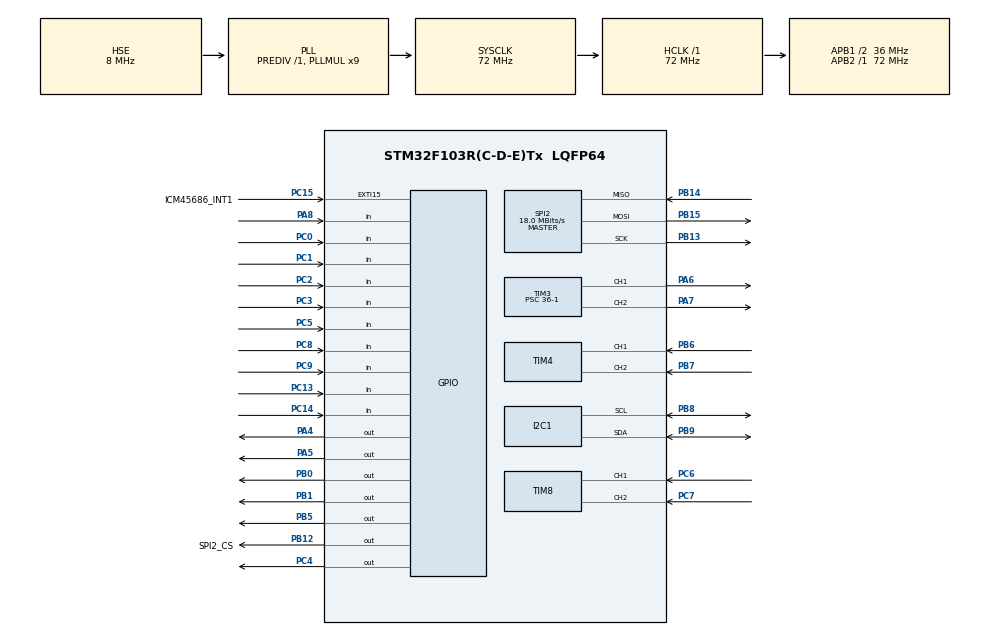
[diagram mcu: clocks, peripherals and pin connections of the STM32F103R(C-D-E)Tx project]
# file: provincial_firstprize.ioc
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Dma.I2C1_TX.0.Direction=DMA_MEMORY_TO_PERIPH
Dma.I2C1_TX.0.Instance=DMA1_Channel6
Dma.I2C1_TX.0.MemDataAlignment=DMA_MDATAALIGN_BYTE
Dma.I2C1_TX.0.MemInc=DMA_MINC_ENABLE
Dma.I2C1_TX.0.Mode=DMA_NORMAL
Dma.I2C1_TX.0.PeriphDataAlignment=DMA_PDATAALIGN_BYTE
Dma.I2C1_TX.0.PeriphInc=DMA_PINC_DISABLE
Dma.I2C1_TX.0.Priority=DMA_PRIORITY_HIGH
Dma.Request0=I2C1_TX
Dma.Request1=SPI2_RX
Dma.Request2=SPI2_TX
Dma.SPI2_RX.1.Direction=DMA_PERIPH_TO_MEMORY
Dma.SPI2_RX.1.Instance=DMA1_Channel4
Dma.SPI2_RX.1.MemDataAlignment=DMA_MDATAALIGN_BYTE
Dma.SPI2_RX.1.MemInc=DMA_MINC_ENABLE
Dma.SPI2_RX.1.Mode=DMA_NORMAL
Dma.SPI2_RX.1.PeriphDataAlignment=DMA_PDATAALIGN_BYTE
Dma.SPI2_RX.1.PeriphInc=DMA_PINC_DISABLE
Dma.SPI2_RX.1.Priority=DMA_PRIORITY_VERY_HIGH
Dma.SPI2_TX.2.Direction=DMA_MEMORY_TO_PERIPH
Dma.SPI2_TX.2.Instance=DMA1_Channel5
Dma.SPI2_TX.2.MemDataAlignment=DMA_MDATAALIGN_BYTE
Dma.SPI2_TX.2.MemInc=DMA_MINC_ENABLE
Dma.SPI2_TX.2.Mode=DMA_NORMAL
Dma.SPI2_TX.2.PeriphDataAlignment=DMA_PDATAALIGN_BYTE
Dma.SPI2_TX.2.PeriphInc=DMA_PINC_DISABLE
Dma.SPI2_TX.2.Priority=DMA_PRIORITY_HIGH
FREERTOS.Tasks01=defaultTask,24,128,StartDefaultTask,Default,NULL,Dynamic,NULL,NULL;linefollowTask,24,128,StartlinefollowTask,As weak,NULL,Dynamic,NULL,NULL;chassisTask,32,256,StartchassisTask,As weak,NULL,Dynamic,NULL,NULL;controlTask,24,256,StartcontrolTask,As weak,NULL,Dynamic,NULL,NULL;imuTask,40,256,StartimuTask,As weak,NULL,Dynamic,NULL,NULL
FREERTOS.configTOTAL_HEAP_SIZE=8192
Mcu.Family=STM32F1
Mcu.Name=STM32F103R(C-D-E)Tx
Mcu.Package=LQFP64
NVIC.DMA1_Channel4_IRQn=true\:5\:0\:false\:false\:true\:true\:false\:true\:true
NVIC.DMA1_Channel5_IRQn=true\:6\:0\:true\:false\:true\:true\:false\:true\:true
NVIC.DMA1_Channel6_IRQn=true\:7\:0\:true\:false\:true\:true\:false\:true\:true
NVIC.EXTI15_10_IRQn=true\:5\:0\:false\:false\:true\:true\:true\:true\:true
NVIC.I2C1_ER_IRQn=true\:5\:0\:false\:false\:true\:true\:true\:true\:true
NVIC.I2C1_EV_IRQn=true\:5\:0\:false\:false\:true\:true\:true\:true\:true
NVIC.PriorityGroup=NVIC_PRIORITYGROUP_4
NVIC.SPI2_IRQn=true\:8\:0\:true\:false\:true\:true\:true\:true\:true
NVIC.TIM6_IRQn=true\:15\:0\:false\:false\:true\:false\:false\:true\:true
NVIC.TimeBase=TIM6_IRQn
NVIC.TimeBaseIP=TIM6
PA10.Signal=USART1_RX
PA13.Mode=Serial_Wire
PA13.Signal=SYS_JTMS-SWDIO
PA14.Mode=Serial_Wire
PA14.Signal=SYS_JTCK-SWCLK
PA2.Signal=USART2_TX
PA3.Signal=USART2_RX
PA4.Signal=GPIO_Output
PA5.Signal=GPIO_Output
PA6.Signal=S_TIM3_CH1
PA7.Signal=S_TIM3_CH2
PA8.GPIO_PuPd=GPIO_PULLUP
PA8.Signal=GPIO_Input
PA9.Signal=USART1_TX
PB0.Signal=GPIO_Output
PB1.Signal=GPIO_Output
PB10.Signal=USART3_TX
PB11.Signal=USART3_RX
PB12.GPIO_Label=SPI2_CS
PB12.GPIO_Speed=GPIO_SPEED_FREQ_HIGH
PB12.PinState=GPIO_PIN_SET
PB12.Signal=GPIO_Output
PB13.Mode=Full_Duplex_Master
PB13.Signal=SPI2_SCK
PB14.Mode=Full_Duplex_Master
PB14.Signal=SPI2_MISO
PB15.Mode=Full_Duplex_Master
PB15.Signal=SPI2_MOSI
PB5.Signal=GPIO_Output
PB6.Signal=S_TIM4_CH1
PB7.Signal=S_TIM4_CH2
PB8.Mode=I2C
PB8.Signal=I2C1_SCL
PB9.Mode=I2C
PB9.Signal=I2C1_SDA
PC0.GPIO_PuPd=GPIO_PULLUP
PC0.Signal=GPIO_Input
PC1.GPIO_PuPd=GPIO_PULLUP
PC1.Signal=GPIO_Input
PC13-TAMPER-RTC.GPIO_PuPd=GPIO_PULLUP
PC13-TAMPER-RTC.Signal=GPIO_Input
PC14-OSC32_IN.GPIO_PuPd=GPIO_PULLUP
PC14-OSC32_IN.Signal=GPIO_Input
PC15-OSC32_OUT.GPIO_Label=ICM45686_INT1
PC15-OSC32_OUT.Signal=GPXTI15
PC2.GPIO_PuPd=GPIO_PULLUP
PC2.Signal=GPIO_Input
PC3.GPIO_PuPd=GPIO_PULLUP
PC3.Signal=GPIO_Input
PC4.Signal=GPIO_Output
PC5.GPIO_PuPd=GPIO_PULLUP
PC5.Signal=GPIO_Input
PC6.Signal=S_TIM8_CH1
PC7.Signal=S_TIM8_CH2
PC8.GPIO_PuPd=GPIO_PULLUP
PC8.Signal=GPIO_Input
PC9.GPIO_PuPd=GPIO_PULLUP
PC9.Signal=GPIO_Input
PD0-OSC_IN.Mode=HSE-External-Oscillator
PD0-OSC_IN.Signal=RCC_OSC_IN
PD1-OSC_OUT.Mode=HSE-External-Oscillator
PD1-OSC_OUT.Signal=RCC_OSC_OUT
ProjectManager.HeapSize=0x200
ProjectManager.StackSize=0x400
ProjectManager.TargetToolchain=CMake
RCC.AHBFreq_Value=72000000
RCC.APB1CLKDivider=RCC_HCLK_DIV2
RCC.APB1Freq_Value=36000000
RCC.APB1TimFreq_Value=72000000
RCC.APB2Freq_Value=72000000
RCC.APB2TimFreq_Value=72000000
RCC.HCLKFreq_Value=72000000
RCC.PLLMUL=RCC_PLL_MUL9
RCC.PLLSourceVirtual=RCC_PLLSOURCE_HSE
RCC.SYSCLKFreq_VALUE=72000000
RCC.SYSCLKSource=RCC_SYSCLKSOURCE_PLLCLK
RCC.USBFreq_Value=72000000
SH.S_TIM3_CH1.0=TIM3_CH1,PWM Generation1 CH1
SH.S_TIM3_CH2.0=TIM3_CH2,PWM Generation2 CH2
SH.S_TIM4_CH1.0=TIM4_CH1,Encoder_Interface
SH.S_TIM4_CH2.0=TIM4_CH2,Encoder_Interface
SH.S_TIM8_CH1.0=TIM8_CH1,Encoder_Interface
SH.S_TIM8_CH2.0=TIM8_CH2,Encoder_Interface
SPI2.CalculateBaudRate=18.0 MBits/s
SPI2.Direction=SPI_DIRECTION_2LINES
SPI2.Mode=SPI_MODE_MASTER
SPI2.VirtualType=VM_MASTER
TIM3.Channel-PWM\ Generation1\ CH1=TIM_CHANNEL_1
TIM3.Channel-PWM\ Generation2\ CH2=TIM_CHANNEL_2
TIM3.Period=100-1
TIM3.Prescaler=36-1
TIM4.AutoReloadPreload=TIM_AUTORELOAD_PRELOAD_ENABLE
TIM4.EncoderMode=TIM_ENCODERMODE_TI12
TIM4.IC1Filter=6
TIM4.IC2Filter=6
TIM8.AutoReloadPreload=TIM_AUTORELOAD_PRELOAD_ENABLE
TIM8.EncoderMode=TIM_ENCODERMODE_TI12
TIM8.IC1Filter=6
TIM8.IC2Filter=6
VP_FREERTOS_VS_CMSIS_V2.Mode=CMSIS_V2
VP_SYS_VS_tim6.Mode=TIM6
VP_TIM3_VS_ClockSourceINT.Mode=Internal
board=custom

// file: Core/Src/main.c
/* USER CODE BEGIN Header */
/**
  ******************************************************************************
  * @file           : main.c
  * @brief          : Main program body
  ******************************************************************************
  * @attention
  *
  * Copyright (c) 2026 STMicroelectronics.
  * All rights reserved.
  *
  * This software is licensed under terms that can be found in the LICENSE file
  * in the root directory of this software component.
  * If no LICENSE file comes with this software, it is provided AS-IS.
  *
  ******************************************************************************
  */
/* USER CODE END Header */
#include "main.h"
#include "cmsis_os.h"
#include "dma.h"
#include "i2c.h"
#include "spi.h"
#include "tim.h"
#include "gpio.h"

/* USER CODE BEGIN Includes */
#include "app_chassis.h"
#include "app_line_follow.h"
#include "app_race_config.h"

/* USER CODE END Includes */

void SystemClock_Config(void);
void MX_FREERTOS_Init(void);

int main(void)
{

  /* MCU Configuration--------------------------------------------------------*/

  /* Reset of all peripherals, Initializes the Flash interface and the Systick. */
  HAL_Init();

  /* Configure the system clock */
  SystemClock_Config();

  /* Initialize all configured peripherals */
  MX_GPIO_Init();
  MX_DMA_Init();
  MX_TIM3_Init();
  MX_TIM4_Init();
  MX_TIM8_Init();
  MX_I2C1_Init();
  MX_SPI2_Init();
  /* USER CODE BEGIN 2 */
  AppChassis_Init();
  AppLineFollow_Init();
  AppRaceConfig_Init(HAL_GetTick());

  /* USER CODE END 2 */

  /* Init scheduler */
  osKernelInitialize();  /* Call init function for freertos objects (in cmsis_os2.c) */
  MX_FREERTOS_Init();

  /* Start scheduler */
  osKernelStart();

  /* We should never get here as control is now taken by the scheduler */

  /* Infinite loop */
  while (1)
  {

    /* USER CODE BEGIN 3 */
    AppChassis_Stop();
  }
  /* USER CODE END 3 */
}

void SystemClock_Config(void)
{
  RCC_OscInitTypeDef RCC_OscInitStruct = {0};
  RCC_ClkInitTypeDef RCC_ClkInitStruct = {0};

  /** Initializes the RCC Oscillators according to the specified parameters
  * in the RCC_OscInitTypeDef structure.
  */
  RCC_OscInitStruct.OscillatorType = RCC_OSCILLATORTYPE_HSE;
  RCC_OscInitStruct.HSEState = RCC_HSE_ON;
  RCC_OscInitStruct.HSEPredivValue = RCC_HSE_PREDIV_DIV1;
  RCC_OscInitStruct.HSIState = RCC_HSI_ON;
  RCC_OscInitStruct.PLL.PLLState = RCC_PLL_ON;
  RCC_OscInitStruct.PLL.PLLSource = RCC_PLLSOURCE_HSE;
  RCC_OscInitStruct.PLL.PLLMUL = RCC_PLL_MUL9;
  if (HAL_RCC_OscConfig(&RCC_OscInitStruct) != HAL_OK)
  {
    Error_Handler();
  }

  /** Initializes the CPU, AHB and APB buses clocks
  */
  RCC_ClkInitStruct.ClockType = RCC_CLOCKTYPE_HCLK|RCC_CLOCKTYPE_SYSCLK
                              |RCC_CLOCKTYPE_PCLK1|RCC_CLOCKTYPE_PCLK2;
  RCC_ClkInitStruct.SYSCLKSource = RCC_SYSCLKSOURCE_PLLCLK;
  RCC_ClkInitStruct.AHBCLKDivider = RCC_SYSCLK_DIV1;
  RCC_ClkInitStruct.APB1CLKDivider = RCC_HCLK_DIV2;
  RCC_ClkInitStruct.APB2CLKDivider = RCC_HCLK_DIV1;

  if (HAL_RCC_ClockConfig(&RCC_ClkInitStruct, FLASH_LATENCY_2) != HAL_OK)
  {
    Error_Handler();
  }
}

void HAL_TIM_PeriodElapsedCallback(TIM_HandleTypeDef *htim)
{
  if (htim->Instance == TIM6)
  {
    HAL_IncTick();
    AppRaceConfig_KeyTimer1ms(HAL_GetTick());
  }
}

void Error_Handler(void)
{
  __disable_irq();
  while (1)
  {
  }
}

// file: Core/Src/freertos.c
/* USER CODE BEGIN Header */
/**
  ******************************************************************************
  * File Name          : freertos.c
  * Description        : Code for freertos applications
  ******************************************************************************
  * @attention
  *
  * Copyright (c) 2026 STMicroelectronics.
  * All rights reserved.
  *
  * This software is licensed under terms that can be found in the LICENSE file
  * in the root directory of this software component.
  * If no LICENSE file comes with this software, it is provided AS-IS.
  *
  ******************************************************************************
  */
/* USER CODE END Header */

#include "FreeRTOS.h"
#include "task.h"
#include "main.h"
#include "cmsis_os.h"

/* USER CODE BEGIN Includes */
#include "chassis_task.h"
#include "control_task.h"
#include "app_race_config.h"
#include "line_follow_task.h"

/* USER CODE END Includes */

/* Definitions for defaultTask */
osThreadId_t defaultTaskHandle;
const osThreadAttr_t defaultTask_attributes = {
  .name = "defaultTask",
  .stack_size = 128 * 4,
  .priority = (osPriority_t) osPriorityNormal,
};
/* Definitions for linefollowTask */
osThreadId_t linefollowTaskHandle;
const osThreadAttr_t linefollowTask_attributes = {
  .name = "linefollowTask",
  .stack_size = 128 * 4,
  .priority = (osPriority_t) osPriorityNormal,
};
/* Definitions for chassisTask */
osThreadId_t chassisTaskHandle;
const osThreadAttr_t chassisTask_attributes = {
  .name = "chassisTask",
  .stack_size = 256 * 4,
  .priority = (osPriority_t) osPriorityAboveNormal,
};
/* Definitions for controlTask */
osThreadId_t controlTaskHandle;
const osThreadAttr_t controlTask_attributes = {
  .name = "controlTask",
  .stack_size = 256 * 4,
  .priority = (osPriority_t) osPriorityNormal,
};
/* Definitions for imuTask */
osThreadId_t imuTaskHandle;
const osThreadAttr_t imuTask_attributes = {
  .name = "imuTask",
  .stack_size = 256 * 4,
  .priority = (osPriority_t) osPriorityHigh,
};

/* USER CODE BEGIN FunctionPrototypes */
void StartDefaultTask(void *argument);

/* USER CODE END FunctionPrototypes */

void StartDefaultTask(void *argument);
void StartlinefollowTask(void *argument);
void StartchassisTask(void *argument);
void StartcontrolTask(void *argument);
void StartimuTask(void *argument);

void MX_FREERTOS_Init(void); /* (MISRA C 2004 rule 8.1) */

void MX_FREERTOS_Init(void) {

  /* Create the thread(s) */
  /* creation of defaultTask */
  defaultTaskHandle = osThreadNew(StartDefaultTask, NULL, &defaultTask_attributes);

  /* creation of linefollowTask */
  linefollowTaskHandle = osThreadNew(StartlinefollowTask, NULL, &linefollowTask_attributes);

  /* creation of chassisTask */
  chassisTaskHandle = osThreadNew(StartchassisTask, NULL, &chassisTask_attributes);

  /* creation of controlTask */
  controlTaskHandle = osThreadNew(StartcontrolTask, NULL, &controlTask_attributes);

  /* creation of imuTask */
  imuTaskHandle = osThreadNew(StartimuTask, NULL, &imuTask_attributes);

}

void StartDefaultTask(void *argument)
{
  /* USER CODE BEGIN StartDefaultTask */
  uint32_t wake_tick = osKernelGetTickCount();

  (void)argument;

  for(;;)
  {
    AppRaceConfig_RunOnce(wake_tick);
    wake_tick += APP_RACE_CONFIG_PERIOD_MS;
    osDelayUntil(wake_tick);
  }
  /* USER CODE END StartDefaultTask */
}

__weak void StartlinefollowTask(void *argument)
{
  for(;;)
  {
    osDelay(1);
  }
}

__weak void StartchassisTask(void *argument)
{
  for(;;)
  {
    osDelay(1);
  }
}

__weak void StartcontrolTask(void *argument)
{
  for(;;)
  {
    osDelay(1);
  }
}

__weak void StartimuTask(void *argument)
{
  for(;;)
  {
    osDelay(1);
  }
}
